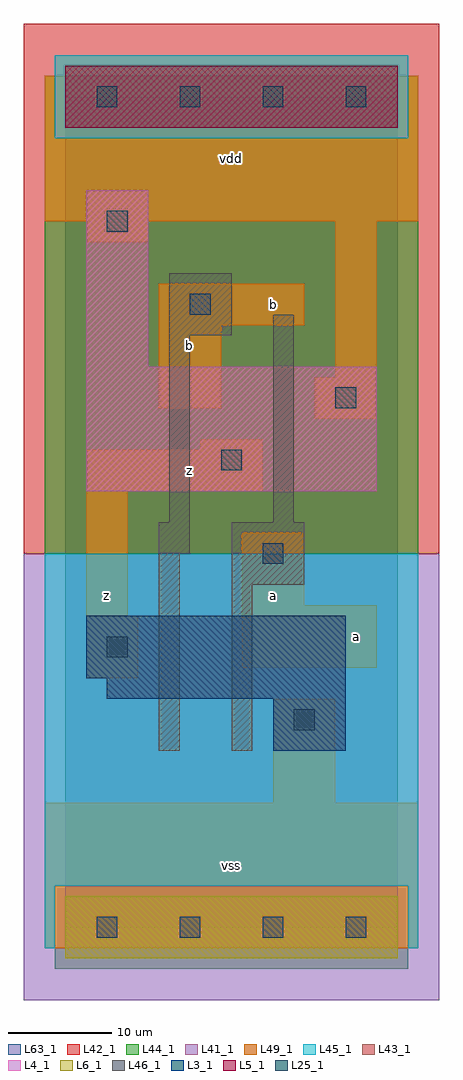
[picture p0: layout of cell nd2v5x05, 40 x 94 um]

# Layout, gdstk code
import gdstk
lib = gdstk.Library(unit=1e-6, precision=1e-09)
def R(c, l, rs):  # rectangles x0, y0, x1, y1
    for r in rs: c.add(gdstk.rectangle(r[:2], r[2:], *l))
def A(c, l, x, y, w, h, nx, ny, dx, dy):  # array of equal rectangles
    R(c, l, [(x+i*dx, y+j*dy, x+i*dx+w, y+j*dy+h) for i in range(nx) for j in range(ny)])
L3_1 = (3, 1)
L4_1 = (4, 1)
L5_1 = (5, 1)
L6_1 = (6, 1)
L25_1 = (25, 1)
L41_1 = (41, 1)
L42_1 = (42, 1)
L43_1 = (43, 1)
L44_1 = (44, 1)
L45_1 = (45, 1)
L46_1 = (46, 1)
L49_1 = (49, 1)
L63_1 = (63, 1)

nd2v5x05 = lib.new_cell('nd2v5x05')
R(nd2v5x05, L3_1, [(20,17,27,22), (4,22,27,24), (2,24,27,30)])
R(nd2v5x05, L4_1, [(2,42,30,54), (2,54,8,71)])
R(nd2v5x05, L5_1, [(0,77,32,83)])
R(nd2v5x05, L6_1, [(0,-3,32,3), (0,-3,32,3)])
A(nd2v5x05, L25_1, 3, -1, 2, 2, 4, 2, 8, 80)
R(nd2v5x05, L25_1, [(22,19,24,21), (4,26,6,28), (19,35,21,37), (15,44,17,46), (26,50,28,52), (12,59,14,61), (4,67,6,69)])
R(nd2v5x05, L41_1, [(-4,-7,36,36)])
R(nd2v5x05, L42_1, [(-4,36,36,87)])
R(nd2v5x05, L43_1, [(0,-3,32,3), (20,17,27,22), (4,22,27,24), (2,24,27,30), (2,42,30,54), (2,54,8,71), (0,77,32,83)])
R(nd2v5x05, L44_1, [(-1,-4,33,4), (-2,36,34,76), (-2,76,-1,82), (33,76,34,82)])
R(nd2v5x05, L45_1, [(-2,-2,-1,4), (33,-2,34,4), (-2,4,34,36), (-1,76,33,84)])
R(nd2v5x05, L46_1, [(9,17,11,36), (16,17,18,33), (16,33,23,39), (9,36,12,39), (10,39,12,57), (20,39,22,59), (10,57,16,63)])
R(nd2v5x05, L49_1, [(-2,-2,34,12), (20,12,26,22), (2,24,7,30), (17,25,30,31), (2,30,6,42), (17,31,23,38), (2,42,19,46), (13,46,19,47), (24,49,30,53), (9,50,15,58), (26,53,30,68), (9,58,23,62), (2,66,8,68), (-2,68,34,82)])
R(nd2v5x05, L63_1, [(0,0,32,80)])
nd2v5x05.add(gdstk.Label('z', (4,32), layer=49, texttype=1))
nd2v5x05.add(gdstk.Label('z', (12,44), layer=49, texttype=1))
nd2v5x05.add(gdstk.Label('b', (12,56), layer=49, texttype=1))
nd2v5x05.add(gdstk.Label('vss', (16,6), layer=49, texttype=1))
nd2v5x05.add(gdstk.Label('a', (20,32), layer=49, texttype=1))
nd2v5x05.add(gdstk.Label('b', (20,60), layer=49, texttype=1))
nd2v5x05.add(gdstk.Label('vdd', (16,74), layer=49, texttype=1))
nd2v5x05.add(gdstk.Label('a', (28,28), layer=49, texttype=1))

lib.write_gds('nd2v5x05.gds')
